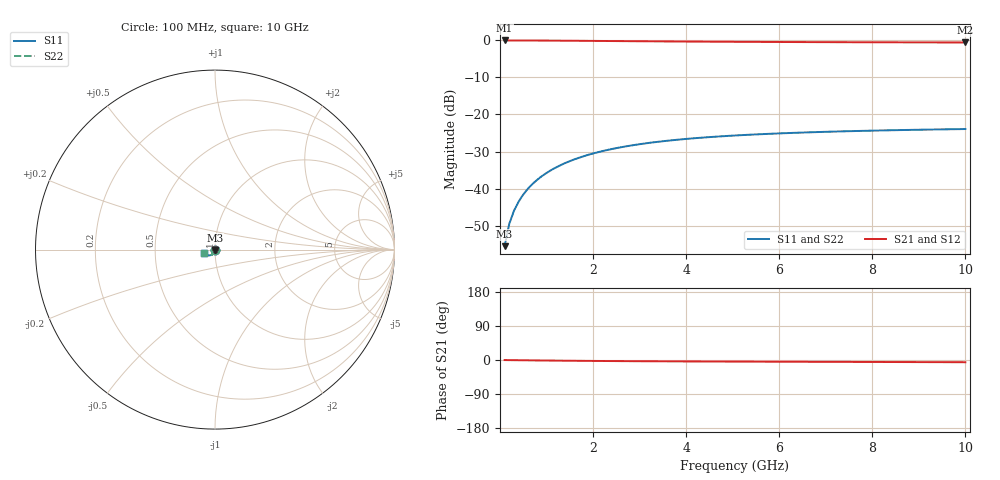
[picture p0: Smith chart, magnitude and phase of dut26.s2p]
! Touchstone file exported from HFSS 2024.1.0
!  File:  C:/UserFiles/LocalFiles/RDL_TSV_Batchsim/temp_TSV1_26_1778747440.aedt
!  Generated:  04:36:05 PM May 14, 2026
!  Design:  TSV1
!  Project:  temp_TSV1_26_1778747440
!  Setup:  Setup1
!  Solution:  Sweep
! Variables:
!  dtsv = 11.26um
!  hbump = 3um
!  htsv = 92.47um
!  lrdl = 252.1521522um
!  p = 40
!  p1 = 42.43um
!  t = 500um
!  trdl = 3um
!  wrdl = 24.89489489um
# GHz S MA R 50.000000
! Terminal data exported
! Port[1] = TSV22_T1
! Port[2] = TSV22_T2
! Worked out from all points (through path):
!   100 points, 100 MHz to 10 GHz, reference 50 ohm
!   highest |S21| = 0.00 dB at 100 MHz (marker M1); lowest = -0.5 dB at 10 GHz (marker M2)
!   lowest |S11| = -55.6 dB at 100 MHz (marker M3), VSWR 1.00, Z = 50 - j0.167 ohm
!   |S11| at or under -10 dB: start of sweep to end of sweep
!   |S22| runs from -55.6 to -23.9 dB; largest |S21 - S12| = 1.2e-14
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0.1  0.001666 -89.4  0.9998 -0.1  0.9998 -0.1  0.001666 -89.4
! Gamma 0 0 0 0
! Port Impedance 50 0 50 0
0.2  0.00333 -91.8  0.9996 -0.3  0.9996 -0.3  0.00333 -91.8
0.3  0.004992 -93.6  0.9994 -0.4  0.9994 -0.4  0.004992 -93.6
0.4  0.006649 -95.3  0.999 -0.6  0.999 -0.6  0.006649 -95.3
0.5  0.008295 -96.8  0.9986 -0.7  0.9986 -0.7  0.008295 -96.8
0.6  0.009927 -98.4  0.9982 -0.8  0.9982 -0.8  0.009927 -98.4
0.7  0.01154 -99.9  0.9976 -1.0  0.9976 -1.0  0.01154 -99.9
0.8  0.01313 -101.5  0.997 -1.1  0.997 -1.1  0.01313 -101.5
0.9  0.0147 -103.0  0.9963 -1.2  0.9963 -1.2  0.0147 -103.0
1.1  0.01774 -105.9  0.9948 -1.5  0.9948 -1.5  0.01774 -105.9
1.4  0.02207 -110.0  0.9921 -1.8  0.9921 -1.8  0.02207 -110.0
1.6  0.02478 -112.7  0.9902 -2.1  0.9902 -2.1  0.02478 -112.7
1.8  0.02734 -115.2  0.9881 -2.3  0.9881 -2.3  0.02734 -115.2
2.1  0.0309 -118.8  0.985 -2.5  0.985 -2.5  0.0309 -118.8
2.5  0.03514 -123.3  0.9807 -2.9  0.9807 -2.9  0.03514 -123.3
2.9  0.03885 -127.3  0.9766 -3.1  0.9766 -3.1  0.03885 -127.3
3.4  0.04282 -131.7  0.9717 -3.4  0.9717 -3.4  0.04282 -131.7
4.2  0.04791 -137.8  0.9648 -3.8  0.9648 -3.8  0.04791 -137.8
5.1  0.05224 -143.4  0.9584 -4.2  0.9584 -4.2  0.05224 -143.4
6.7  0.05758 -151.1  0.9498 -4.8  0.9498 -4.8  0.05758 -151.1
8.4  0.06125 -157.3  0.9436 -5.3  0.9436 -5.3  0.06125 -157.3
10  0.06361 -161.9  0.9394 -5.9  0.9394 -5.9  0.06361 -161.9
